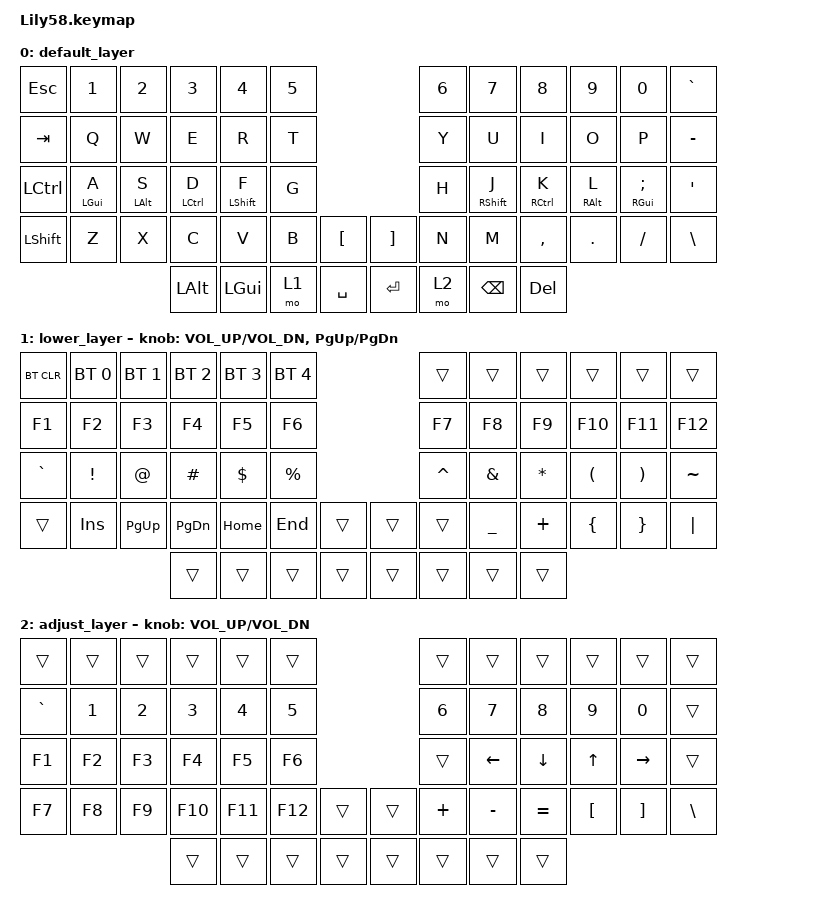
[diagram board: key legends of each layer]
/*
 * Copyright (c) 2020 The ZMK Contributors
 *
 * SPDX-License-Identifier: MIT
 */

#include <behaviors.dtsi>
#include <dt-bindings/zmk/bt.h>
#include <dt-bindings/zmk/keys.h>

/ {
    // Activate ADJUST layer by pressing raise and lower

    conditional_layers {
        compatible = "zmk,conditional-layers";

        adjust_layer {
            if-layers = <1 2>;
            then-layer = <3>;
        };
    };

    behaviors {
        HMShiftR: HMShiftR {
            compatible = "zmk,behavior-hold-tap";
            label = "HMSHIFTR";
            bindings = <&kp>, <&kp>;

            #binding-cells = <2>;
            tapping-term-ms = <200>;
            hold-while-undecided;
            hold-trigger-key-positions = <0 1 2 3 4 5 12 13 14 15 16 17 24 25 26 27 28 29 36 37 38 39 40 41 42 50 51 52 53>;
            hold-trigger-on-release;
        };

        HMShiftL: HMShiftL {
            compatible = "zmk,behavior-hold-tap";
            label = "HMSHIFTL";
            bindings = <&kp>, <&kp>;

            #binding-cells = <2>;
            tapping-term-ms = <200>;
            hold-while-undecided;
            hold-trigger-on-release;
            hold-trigger-key-positions = <6 7 9 10 11 18 19 20 21 22 23 30 31 32 33 34 35 43 44 45 46 47 48 49 54 55 56 57 8>;
        };

        HMR: HMR {
            compatible = "zmk,behavior-hold-tap";
            label = "HMR";
            bindings = <&kp>, <&kp>;

            #binding-cells = <2>;
            tapping-term-ms = <200>;
            hold-trigger-key-positions = <0 1 2 3 4 5 12 13 14 15 16 17 24 25 26 27 28 29 36 37 38 39 40 41 42 50 51 52 53>;
            flavor = "tap-preferred";
        };

        HML: HML {
            compatible = "zmk,behavior-hold-tap";
            label = "HML";
            bindings = <&kp>, <&kp>;

            #binding-cells = <2>;
            tapping-term-ms = <200>;
            hold-trigger-key-positions = <6 7 9 10 11 18 19 20 21 22 23 30 31 32 33 34 35 43 44 45 46 47 48 49 54 55 56 57 8>;
            flavor = "tap-preferred";
        };
    };

    keymap {
        compatible = "zmk,keymap";

        default_layer {
            // ------------------------------------------------------------------------------------------------------------
            // |  ESC  |  1  |  2  |  3   |  4   |  5   |                   |  6   |  7    |  8    |  9   |   0   |   `   |
            // |  TAB  |  Q  |  W  |  E   |  R   |  T   |                   |  Y   |  U    |  I    |  O   |   P   |   -   |
            // |  CTRL |  A  |  S  |  D   |  F   |  G   |                   |  H   |  J    |  K    |  L   |   ;   |   '   |
            // | SHIFT |  Z  |  X  |  C   |  V   |  B   |  MUTE  |  |RGB_TOG|  N   |  M    |  ,    |  .   |   /   | SHIFT |
            //                     | ALT  | GUI  | LOWER|  SPACE |  | ENTER | RAISE| BSPC  | GUI   |

            bindings = <
&kp ESC    &kp N1           &kp N2           &kp N3        &kp N4                  &kp N5                                         &kp N6  &kp N7                   &kp N8        &kp N9            &kp N0               &kp GRAVE
&kp TAB    &kp Q            &kp W            &kp E         &kp R                   &kp T                                          &kp Y   &kp U                    &kp I         &kp O             &kp P                &kp MINUS
&kp LCTRL  &HML LEFT_GUI A  &HML LEFT_ALT S  &HML LCTRL D  &HMShiftL LEFT_SHIFT F  &kp G                                          &kp H   &HMShiftR RIGHT_SHIFT J  &HMR RCTRL K  &HMR RIGHT_ALT L  &HMR RIGHT_GUI SEMI  &kp SQT
&kp LSHFT  &kp Z            &kp X            &kp C         &kp V                   &kp B   &kp LEFT_BRACKET    &kp RIGHT_BRACKET  &kp N   &kp M                    &kp COMMA     &kp DOT           &kp FSLH             &kp BACKSLASH
                                             &kp LALT      &kp LGUI                &mo 1   &kp SPACE           &kp RET            &mo 2   &kp BSPC                 &kp DELETE
            >;
        };

        lower_layer {
            // ------------------------------------------------------------------------------------------------------------
            // | BTCLR | BT1 | BT2 |  BT3 |  BT4 |  BT5 |                   |      |       |       |      |       |       |
            // |  F1   |  F2 |  F3 |  F4  |  F5  |  F6  |                   |  F7  |  F8   |  F9   |  F10 |  F11  |  F12  |
            // |   `   |  !  |  @  |  #   |  $   |  %   |                   |  ^   |  &    |  *    |  (   |   )   |   ~   |
            // |EXTPWR |     |     |      |      |      |        |  |       |      |  _    |  +    |  {   |   }   |  "|"  |
            //                     |      |      |      |        |  |       |      |       |       |

            bindings = <
&bt BT_CLR  &bt BT_SEL 0  &bt BT_SEL 1  &bt BT_SEL 2   &bt BT_SEL 3  &bt BT_SEL 4                    &trans     &trans          &trans     &trans    &trans    &trans
&kp F1      &kp F2        &kp F3        &kp F4         &kp F5        &kp F6                          &kp F7     &kp F8          &kp F9     &kp F10   &kp F11   &kp F12
&kp GRAVE   &kp EXCL      &kp AT        &kp HASH       &kp DOLLAR    &kp PRCNT                       &kp CARET  &kp AMPS        &kp ASTRK  &kp LPAR  &kp RPAR  &kp TILDE
&trans      &kp INSERT    &kp PAGE_UP   &kp PAGE_DOWN  &kp HOME      &kp END       &trans    &trans  &trans     &kp UNDERSCORE  &kp PLUS   &kp LBRC  &kp RBRC  &kp PIPE
                                        &trans         &trans        &trans        &trans    &trans  &trans     &trans          &trans
            >;

            sensor-bindings = <&inc_dec_kp C_VOL_UP C_VOL_DN &inc_dec_kp PG_UP PG_DN>;
        };

        adjust_layer {
            // ----------------------------------------------------------------------------------------------------------------------------
            // | BTCLR  |  BT1    |  BT2    |   BT3   |   BT4   |   BT5   |                  |      |      |       |      |       |       |
            // | EXTPWR | RGB_HUD | RGB_HUI | RGB_SAD | RGB_SAI | RGB_EFF |                  |      |      |       |      |       |       |
            // |        | RGB_BRD | RGB_BRI |         |         |         |                  |      |      |       |      |       |       |
            // |        |         |         |         |         |         | RGB_TOG | |      |      |      |       |      |       |       |
            //                    |         |         |         |         |         | |      |      |      |       |      |

            bindings = <
&trans     &trans        &trans        &trans        &trans        &trans                     &trans        &trans          &trans          &trans            &trans             &trans
&kp GRAVE  &kp NUMBER_1  &kp NUMBER_2  &kp NUMBER_3  &kp NUMBER_4  &kp N5                     &kp NUMBER_6  &kp N7          &kp N8          &kp N9            &kp N0             &trans
&kp F1     &kp F2        &kp F3        &kp F4        &kp F5        &kp F6                     &trans        &kp LEFT_ARROW  &kp DOWN_ARROW  &kp UP_ARROW      &kp RIGHT_ARROW    &trans
&kp F7     &kp F8        &kp F9        &kp F10       &kp F11       &kp F12  &trans    &trans  &kp PLUS      &kp MINUS       &kp EQUAL       &kp LEFT_BRACKET  &kp RIGHT_BRACKET  &kp BACKSLASH
                                       &trans        &trans        &trans   &trans    &trans  &trans        &trans          &trans
            >;

            sensor-bindings = <&inc_dec_kp C_VOL_UP C_VOL_DN>;
        };

        extra1 { status = "reserved"; };

        extra2 { status = "reserved"; };

        extra3 { status = "reserved"; };

        extra4 { status = "reserved"; };

        extra5 { status = "reserved"; };
    };
};
